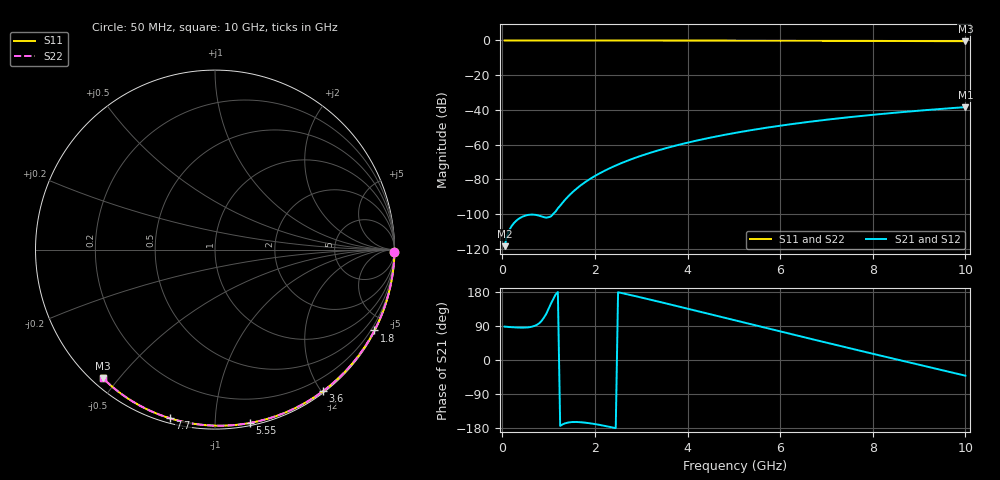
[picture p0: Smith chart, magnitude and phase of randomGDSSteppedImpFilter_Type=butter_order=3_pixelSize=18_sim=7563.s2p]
! freq	dB(S11)	phase(S11)	dB(S12)	phase(S12)
!  dB(S21)	phase(S21)	dB(S22)	phase(S22)
!S-par simulation data
#  GHz  S  DB  R 50
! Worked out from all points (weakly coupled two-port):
!   200 points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, 50 MHz to 10 GHz, reference 50 ohm
!   highest |S21| = -38.41 dB at 10 GHz (marker M1); lowest = -118.5 dB at 50 MHz (marker M2)
!   lowest |S11| = -0.4 dB at 10 GHz (marker M3), VSWR 39.09, Z = 1.54 - j22.6 ohm
!   |S11| at or under -10 dB: nowhere
!   |S22| runs from -0.4 to 0.0 dB; largest |S21 - S12| = 0
!   S11 on the Smith chart (normalised r, x): 50 MHz: open; 1.8 GHz: 0.04, -4.18; 3.6 GHz: 0.02, -2.02; 5.55 GHz: 0.02, -1.22; 7.7 GHz: 0.02, -0.77; 10 GHz: 0.03, -0.45
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0.05  -0.00 -0.8  -118.52 88.1  -118.52 88.1  -0.00 -0.8
0.9  -0.02 -13.6  -101.82 112.1  -101.82 112.1  -0.02 -13.6
1.75  -0.03 -26.2  -82.38 -164.8  -82.38 -164.8  -0.03 -26.2
1.8  -0.03 -26.9  -81.44 -165.5  -81.44 -165.5  -0.03 -26.9
1.85  -0.04 -27.6  -80.55 -166.3  -80.55 -166.3  -0.04 -27.6
1.9  -0.04 -28.4  -79.70 -167.1  -79.70 -167.1  -0.04 -28.4
2.05  -0.04 -30.5  -77.32 -170.1  -77.32 -170.1  -0.04 -30.5
2.25  -0.04 -33.5  -74.52 -174.8  -74.52 -174.8  -0.04 -33.5
2.45  -0.05 -36.3  -72.05 -179.8  -72.05 -179.8  -0.05 -36.3
2.65  -0.05 -39.2  -69.82 174.8  -69.82 174.8  -0.05 -39.2
3  -0.06 -44.2  -66.42 164.9  -66.42 164.9  -0.06 -44.2
3.4  -0.07 -49.8  -63.08 153.3  -63.08 153.3  -0.07 -49.8
3.6  -0.07 -52.6  -61.59 147.4  -61.59 147.4  -0.07 -52.6
4.3  -0.09 -62.1  -57.08 126.5  -57.08 126.5  -0.09 -62.2
5.05  -0.11 -72.1  -53.15 103.9  -53.15 103.9  -0.11 -72.1
5.55  -0.13 -78.6  -50.92 88.9  -50.92 88.9  -0.13 -78.6
6.1  -0.15 -85.5  -48.74 72.5  -48.74 72.5  -0.15 -85.5
6.7  -0.18 -92.9  -46.63 54.6  -46.63 54.6  -0.18 -92.9
7.7  -0.24 -104.9  -43.63 25.2  -43.63 25.2  -0.24 -104.9
8.35  -0.29 -112.5  -41.95 6.3  -41.95 6.3  -0.29 -112.5
9.15  -0.36 -121.6  -40.12 -16.8  -40.12 -16.8  -0.36 -121.6
10  -0.44 -131.2  -38.41 -41.4  -38.41 -41.4  -0.44 -131.2
